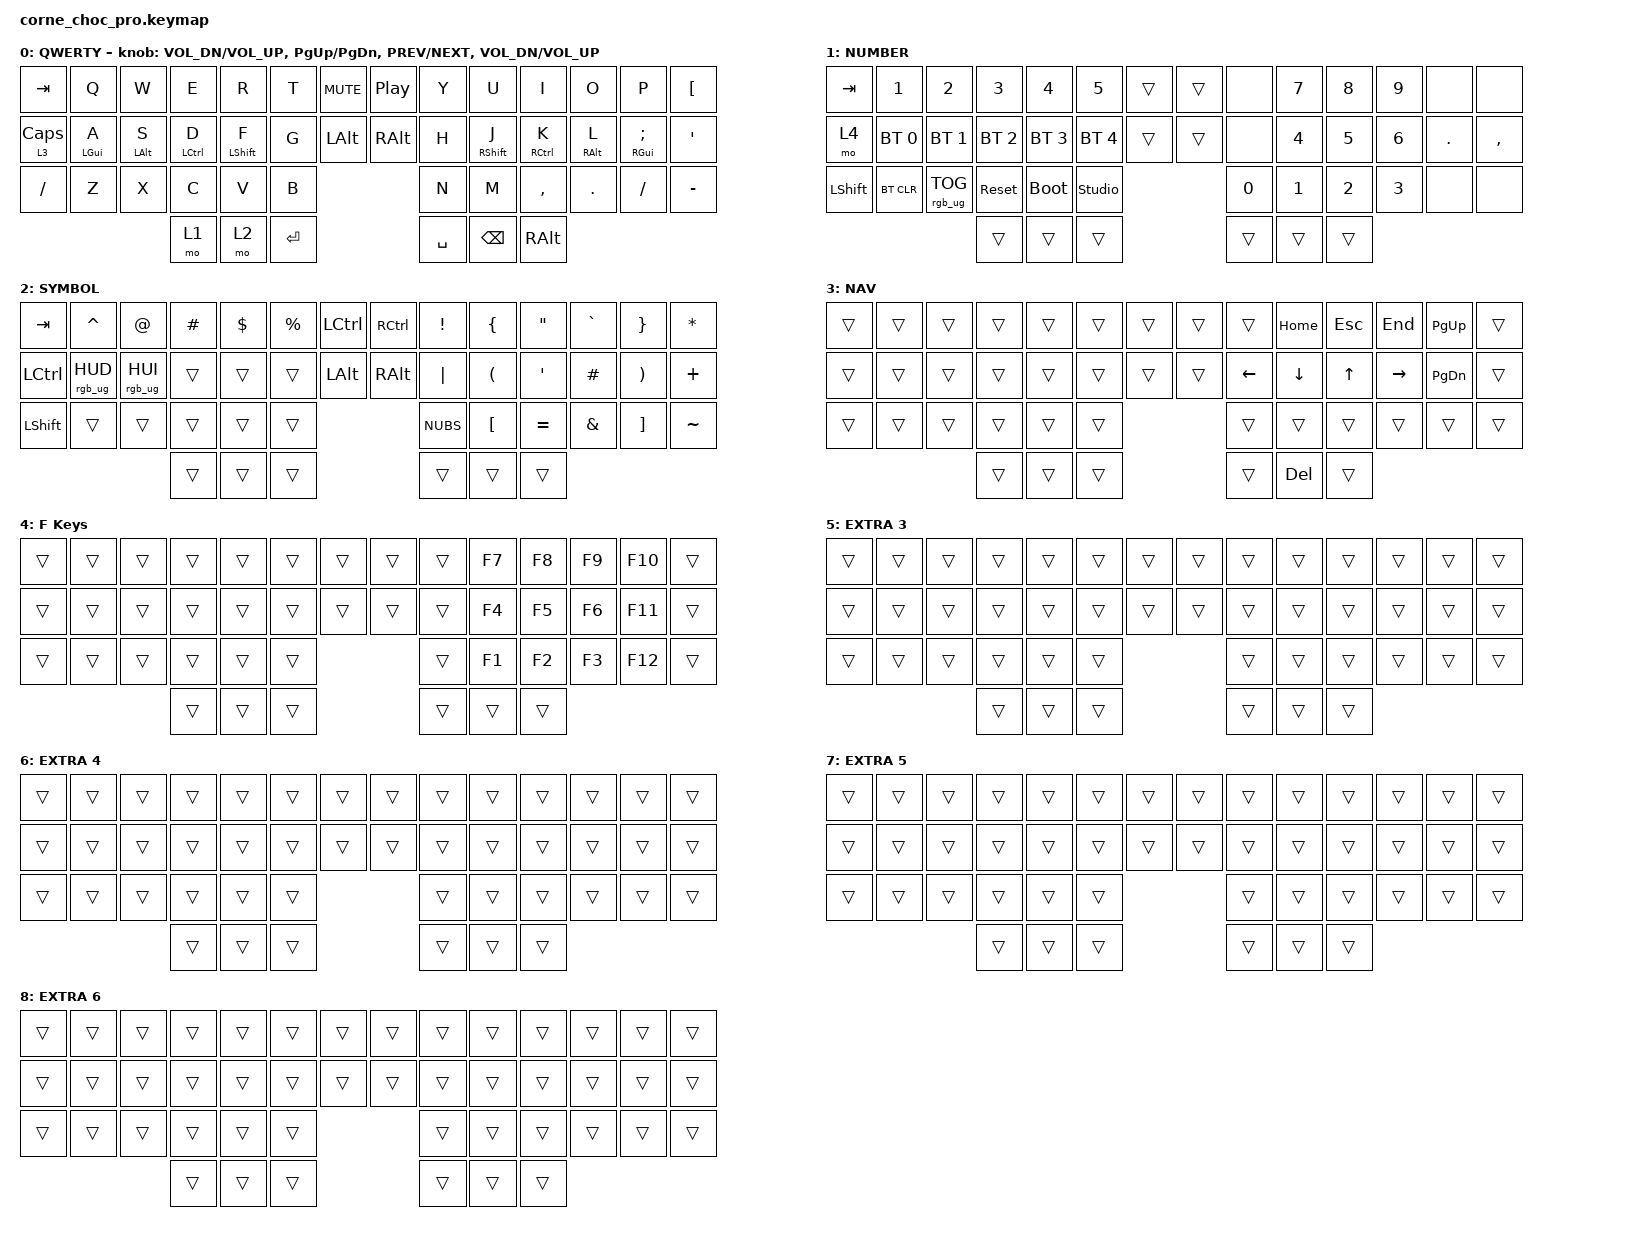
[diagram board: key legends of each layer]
/*
 * Copyright (c) 2020 The ZMK Contributors
 *
 * SPDX-License-Identifier: MIT
 */

#include <behaviors.dtsi>
#include <dt-bindings/zmk/keys.h>
#include <dt-bindings/zmk/bt.h>
#include <dt-bindings/zmk/rgb.h>
#include <dt-bindings/zmk/pointing.h>


&lt {
    tapping-term-ms = <150>; // This is the value already set by default
};

/ {
    chosen {
        zmk,physical-layout = &default_layout;
    };
};

/ {
    behaviors {
        sml: home_row_shift_left {
            compatible = "zmk,behavior-hold-tap";
            #binding-cells = <2>;
            flavor = "balanced";
            require-prior-idle-ms = <0>;
            tapping-term-ms = <280>;
            quick-tap-ms = <175>;
            bindings = <&kp>, <&kp>;
            // Right-hand positions in default_layout, including thumbs.
            hold-trigger-key-positions = <
                 7  8  9 10 11 12 13
                21 22 23 24 25 26 27
                   34 35 36 37 38 39
                   43 44 45
            >;
            hold-trigger-on-release;
        };
        cml: home_row_ctrl_left {
            compatible = "zmk,behavior-hold-tap";
            #binding-cells = <2>;
            flavor = "tap-preferred";
            require-prior-idle-ms = <200>;
            tapping-term-ms = <280>;
            quick-tap-ms = <175>;
            bindings = <&kp>, <&kp>;
            hold-trigger-on-release;
            hold-trigger-key-positions = <
                 7  8  9 10 11 12 13
                21 22 23 24 25 26 27
                   34 35 36 37 38 39
                   43 44 45
            >;
        };
        gml: home_row_gui_left {
            compatible = "zmk,behavior-hold-tap";
            #binding-cells = <2>;
            flavor = "tap-preferred";
            require-prior-idle-ms = <200>;
            tapping-term-ms = <500>;
            quick-tap-ms = <175>;
            bindings = <&kp>, <&kp>;
            hold-trigger-on-release;
            hold-trigger-key-positions = <
                 7  8  9 10 11 12 13
                21 22 23 24 25 26 27
                   34 35 36 37 38 39
                   43 44 45
            >;
        };

        smr: home_row_shift_right {
            compatible = "zmk,behavior-hold-tap";
            #binding-cells = <2>;
            flavor = "balanced";
            require-prior-idle-ms = <0>;
            tapping-term-ms = <280>;
            quick-tap-ms = <175>;
            bindings = <&kp>, <&kp>;
            // Left-hand positions in default_layout, including thumbs.
            hold-trigger-key-positions = <
                 0  1  2  3  4  5  6
                14 15 16 17 18 19 20
                28 29 30 31 32 33
                         40 41 42
            >;
            hold-trigger-on-release;
        };
        cmr: home_row_ctrl_right {
            compatible = "zmk,behavior-hold-tap";
            #binding-cells = <2>;
            flavor = "tap-preferred";
            require-prior-idle-ms = <200>;
            tapping-term-ms = <280>;
            quick-tap-ms = <175>;
            bindings = <&kp>, <&kp>;
            // Left-hand positions in default_layout, including thumbs.
            hold-trigger-key-positions = <
                 0  1  2  3  4  5  6
                14 15 16 17 18 19 20
                28 29 30 31 32 33
                         40 41 42
            >;
            hold-trigger-on-release;
        };
        gmr: home_row_gui_right {
            compatible = "zmk,behavior-hold-tap";
            #binding-cells = <2>;
            flavor = "tap-preferred";
            require-prior-idle-ms = <200>;
            tapping-term-ms = <500>;
            quick-tap-ms = <175>;
            bindings = <&kp>, <&kp>;
            // Left-hand positions in default_layout, including thumbs.
            hold-trigger-key-positions = <
                 0  1  2  3  4  5  6
                14 15 16 17 18 19 20
                28 29 30 31 32 33
                         40 41 42
            >;
            hold-trigger-on-release;
        };
    };

    macros {
        // Keep these unassigned behaviors available for selection in ZMK Studio.
        // Start scrolling on key press and stop on release.
        scroll_up: scroll_up {
            compatible = "zmk,behavior-macro";
            display-name = "Scroll Up";
            #binding-cells = <0>;
            wait-ms = <0>;
            bindings = <&macro_press &msc SCRL_UP>,
                       <&macro_pause_for_release>,
                       <&macro_release &msc SCRL_UP>;
        };

        scroll_down: scroll_down {
            compatible = "zmk,behavior-macro";
            display-name = "Scroll Down";
            #binding-cells = <0>;
            wait-ms = <0>;
            bindings = <&macro_press &msc SCRL_DOWN>,
                       <&macro_pause_for_release>,
                       <&macro_release &msc SCRL_DOWN>;
        };
    };

    keymap {
        compatible = "zmk,keymap";

        default_layer {
            display-name = "QWERTY";
            // ------------------------------------------------------------------------------------------------
            // |  TAB  |   Q   |   W   |   E    |   R    |   T   | MUTE  | PLAY  |   Y   |   U    |   I    |   O   |   P   |   ü   |
            // | CAPS  | GUI A | ALT S | CTRL D | SHFT F |   G   | LALT  | RALT  |   H   | SHFT J | CTRL K | ALT L | GUI ö |   ä   |
            // |   /   |   Z   |   X   |   C    |   V    |   B   |               |   N   |   M    |   ,    |   .   |   /   |   ß   |
            //                         |  LWR   |  SYM   |  RET  |               |  SPC  | BSPC   | RALT   |
            // Note: LBKT produces ü (Shift: Ü) with a German host keyboard layout.
            // CAPS taps Caps Lock and holds the NAV layer. Home-row holds are
            // A=GUI, S=ALT, D=CTRL, F=SHIFT and J=SHIFT, K=CTRL, L=ALT, ;=GUI.
            // Thumbs: LWR holds the NUMBER layer, SYM holds the SYMBOL layer.
            bindings = <
                &kp TAB     &kp Q       &kp W       &kp E         &kp R         &kp T   &kp C_MUTE    &kp C_PP &kp Y      &kp U         &kp I         &kp O       &kp P           &kp LBKT
                &lt 3 CAPS  &gml LGUI A &cml LALT S &cml LCTRL D  &sml LSHFT F  &kp G   &kp LALT      &kp RALT &kp H      &smr RSHFT J  &cmr RCTRL K  &cmr RALT L &gmr RGUI SEMI  &kp SQT
                &kp SLASH   &kp Z       &kp X       &kp C         &kp V         &kp B                          &kp N      &kp M         &kp COMMA     &kp DOT     &kp FSLH        &kp MINUS
                                                    &mo 1         &mo 2         &kp RET                        &kp SPACE  &kp BSPC      &kp RALT
            >;
            // Sensor order: left upper, left lower, right upper, right lower.
            sensor-bindings = <&inc_dec_kp C_VOL_DN C_VOL_UP &inc_dec_kp PG_UP PG_DN &inc_dec_kp C_PREV C_NEXT &inc_dec_kp C_VOL_DN C_VOL_UP>;
        };

        lower_layer {
            display-name = "NUMBER";
            // -------------------------------------------------------------------------------------------------------------
            // |  TAB  |   1   |   2   |   3   |   4   |   5    |       |       | NONE  |   7   |   8   |   9   | NONE  | NONE  |
            // |  FUN  |  BT1  |  BT2  |  BT3  |  BT4  |  BT5   |       |       | NONE  |   4   |   5   |   6   |   .   |   ,   |
            // | SHFT  | BTCLR |  RGB  |  RST  | BOOT  | UNLOCK |               |   0   |   1   |   2   |   3   | NONE  | NONE  |
            //                         |       |       |        |               |       |       |       |
            // FUN holds the F Keys layer. NONE blocks the key on this layer.
            bindings = <
                &kp TAB   &kp N1       &kp N2          &kp N3       &kp N4       &kp N5         &trans  &trans  &none   &kp N7   &kp N8 &kp N9  &none   &none
                &mo 4     &bt BT_SEL 0 &bt BT_SEL 1    &bt BT_SEL 2 &bt BT_SEL 3 &bt BT_SEL 4   &trans  &trans  &none   &kp N4   &kp N5 &kp N6  &kp DOT &kp COMMA
                &kp LSHFT &bt BT_CLR   &rgb_ug RGB_TOG &sys_reset   &bootloader  &studio_unlock                 &kp N0  &kp N1   &kp N2 &kp N3  &none   &none
                                                       &trans       &trans       &trans                         &trans  &trans   &trans
            >;
        };

        raise_layer {
            display-name = "SYMBOL";
            // ------------------------------------------------------------------------------------------------------------
            // |  TAB  |   ^   |   @   |   #   |   $   |   %   | LCTRL | RCTRL |   !   |   {   |   "   |   `   |   }   |   *   |
            // | LCTRL |  HUD  |  HUI  |       |       |       | LALT  | RALT  |   |   |   (   |   '   |   #   |   )   |   +   |
            // | SHFT  |       |       |       |       |       |               |   <   |   [   |   =   |   &   |   ]   |   ~   |
            //                         |       |       |       |               |       |       |       |
            // HUD/HUI are RGB hue down/up.
            bindings = <
                &kp TAB   &kp CARET       &kp AT          &kp HASH &kp DLLR &kp PRCNT &kp LCTRL &kp RCTRL &kp EXCL  &kp LBRC  &kp DQT    &kp GRAVE &kp RBRC &kp STAR
                &kp LCTRL &rgb_ug RGB_HUD &rgb_ug RGB_HUI &trans   &trans   &trans    &kp LALT  &kp RALT  &kp PIPE  &kp LPAR  &kp SQT    &kp HASH  &kp RPAR &kp PLUS
                &kp LSHFT &trans          &trans          &trans   &trans   &trans                        &kp NUBS  &kp LBKT  &kp EQUAL  &kp AMPS  &kp RBKT &kp TILDE
                                                          &trans   &trans   &trans                        &trans    &trans   &trans
            >;
        };

        nav_layer {
            display-name = "NAV";
            // ------------------------------------------------------------------------------------------------------------
            // |       |       |       |       |       |       |       |       |       | HOME  |  ESC  |  END  | PG UP |       |
            // |       |       |       |       |       |       |       |       | LEFT  | DOWN  |  UP   | RIGHT | PG DN |       |
            // |       |       |       |       |       |       |               |       |       |       |       |       |       |
            //                         |       |       |       |               |       |  DEL  |       |
            // Only the right half binds keys; every other position stays transparent.
            bindings = <
                &trans &trans &trans &trans &trans &trans &trans &trans &trans   &kp HOME &kp ESC &kp END   &kp PG_UP &trans
                &trans &trans &trans &trans &trans &trans &trans &trans &kp LEFT &kp DOWN &kp UP  &kp RIGHT &kp PG_DN &trans
                &trans &trans &trans &trans &trans &trans               &trans   &trans   &trans  &trans    &trans    &trans
                                     &trans &trans &trans               &trans   &kp DEL  &trans       
            >;
        };

        f_layer {
            display-name = "F Keys";
            // ------------------------------------------------------------------------------------------------------------
            // |       |       |       |       |       |       |       |       |       |  F7   |  F8   |  F9   |  F10  |       |
            // |       |       |       |       |       |       |       |       |       |  F4   |  F5   |  F6   |  F11  |       |
            // |       |       |       |       |       |       |               |       |  F1   |  F2   |  F3   |  F12  |       |
            //                         |       |       |       |               |       |       |       |
            // Only the right half binds keys; every other position stays transparent.
            bindings = <
                &trans &trans &trans &trans &trans &trans &trans &trans &trans &kp F7 &kp F8 &kp F9 &kp F10 &trans
                &trans &trans &trans &trans &trans &trans &trans &trans &trans &kp F4 &kp F5 &kp F6 &kp F11 &trans
                &trans &trans &trans &trans &trans &trans               &trans &kp F1 &kp F2 &kp F3 &kp F12 &trans
                                     &trans &trans &trans               &trans &trans &trans       
            >;
        };

        extra_layer_3 {
            display-name = "EXTRA 3";
            bindings = <
                &trans &trans &trans &trans &trans &trans &trans &trans &trans &trans &trans &trans &trans &trans
                &trans &trans &trans &trans &trans &trans &trans &trans &trans &trans &trans &trans &trans &trans
                &trans &trans &trans &trans &trans &trans               &trans &trans &trans &trans &trans &trans
                                     &trans &trans &trans               &trans &trans &trans       
            >;
        };

        extra_layer_4 {
            display-name = "EXTRA 4";
            bindings = <
                &trans &trans &trans &trans &trans &trans &trans &trans &trans &trans &trans &trans &trans &trans
                &trans &trans &trans &trans &trans &trans &trans &trans &trans &trans &trans &trans &trans &trans
                &trans &trans &trans &trans &trans &trans               &trans &trans &trans &trans &trans &trans
                                     &trans &trans &trans               &trans &trans &trans       
            >;
        };

        extra_layer_5 {
            display-name = "EXTRA 5";
            bindings = <
                &trans &trans &trans &trans &trans &trans &trans &trans &trans &trans &trans &trans &trans &trans
                &trans &trans &trans &trans &trans &trans &trans &trans &trans &trans &trans &trans &trans &trans
                &trans &trans &trans &trans &trans &trans               &trans &trans &trans &trans &trans &trans
                                     &trans &trans &trans               &trans &trans &trans       
            >;
        };

        extra_layer_6 {
            display-name = "EXTRA 6";
            bindings = <
                &trans &trans &trans &trans &trans &trans &trans &trans &trans &trans &trans &trans &trans &trans
                &trans &trans &trans &trans &trans &trans &trans &trans &trans &trans &trans &trans &trans &trans
                &trans &trans &trans &trans &trans &trans               &trans &trans &trans &trans &trans &trans
                                     &trans &trans &trans               &trans &trans &trans       
            >;
        };
    };
};
